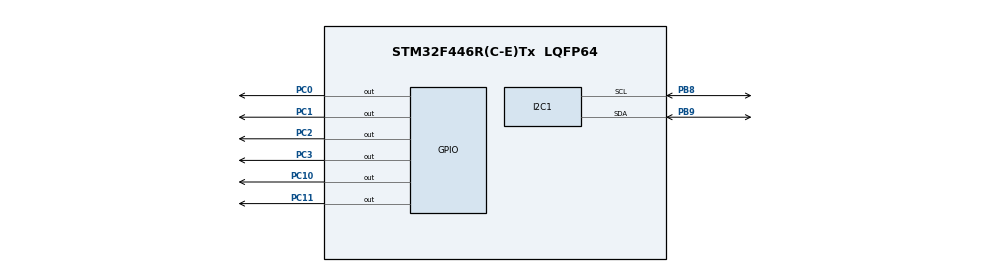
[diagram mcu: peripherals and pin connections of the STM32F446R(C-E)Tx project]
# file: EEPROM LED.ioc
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Mcu.Family=STM32F4
Mcu.Name=STM32F446R(C-E)Tx
Mcu.Package=LQFP64
NVIC.PriorityGroup=NVIC_PRIORITYGROUP_4
PB8.Mode=I2C
PB8.Signal=I2C1_SCL
PB9.Mode=I2C
PB9.Signal=I2C1_SDA
PC0.Signal=GPIO_Output
PC1.Signal=GPIO_Output
PC10.Signal=GPIO_Output
PC11.Signal=GPIO_Output
PC2.Signal=GPIO_Output
PC3.Signal=GPIO_Output
ProjectManager.HeapSize=0x200
ProjectManager.StackSize=0x400
ProjectManager.TargetToolchain=STM32CubeIDE
RCC.CortexFreq_Value=16000000
RCC.USBFreq_Value=96000000
RCC.VCOOutputFreq_Value=192000000
board=custom

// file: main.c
/* USER CODE BEGIN Header */
/**
  ******************************************************************************
  * @file           : main.c
  * @brief          : Main program body
  ******************************************************************************
  * @attention
  *
  * Copyright (c) 2026 STMicroelectronics.
  * All rights reserved.
  *
  * This software is licensed under terms that can be found in the LICENSE file
  * in the root directory of this software component.
  * If no LICENSE file comes with this software, it is provided AS-IS.
  *
  ******************************************************************************
  */
/* USER CODE END Header */
#include "main.h"

I2C_HandleTypeDef hi2c1;

void SystemClock_Config(void);
static void MX_GPIO_Init(void);
static void MX_I2C1_Init(void);

/* USER CODE BEGIN 0 */
/* USER CODE BEGIN 0 */
/* USER CODE BEGIN 0 */
#define EEPROM_ADDR       (0x50 << 1)   // 7‑bit 0x50 → 8‑bit 0xA0
#define EEPROM_LED_ADDR   0x00          // 16‑bit address where you store LED index

uint8_t last_written = 255;

void EEPROM_Write(uint16_t addr, uint8_t data)
{
    uint8_t buf[3];

    buf[0] = (uint8_t)(addr >> 8);      // high byte of address
    buf[1] = (uint8_t)(addr);           // low byte of address
    buf[2] = data;                      // data

    HAL_I2C_Master_Transmit(&hi2c1, EEPROM_ADDR, buf, 3, 100);
    HAL_Delay(10);       // EEPROM internal write cycle [web:32]
}

uint8_t EEPROM_Read(uint16_t addr)
{
    uint8_t data = 0;
    uint8_t addr_buf[2];

    addr_buf[0] = (uint8_t)(addr >> 8);   // high byte
    addr_buf[1] = (uint8_t)(addr);        // low byte

    HAL_I2C_Master_Transmit(&hi2c1, EEPROM_ADDR, addr_buf, 2, 100);
    HAL_I2C_Master_Receive(&hi2c1, EEPROM_ADDR, &data, 1, 100);

    return data;
}
/* USER CODE END 0 */
/* USER CODE END 0 */
/* USER CODE END 0 */

int main(void)
{
    HAL_Init();
    SystemClock_Config();
    MX_GPIO_Init();
    MX_I2C1_Init();

    uint8_t led_index = EEPROM_Read(EEPROM_LED_ADDR);

    if (led_index > 5)
        led_index = 0;

    /* Infinite loop */
    while (1)
    {
        // Turn OFF all LEDs
        HAL_GPIO_WritePin(GPIOC,
            GPIO_PIN_0|GPIO_PIN_1|GPIO_PIN_2|
            GPIO_PIN_3|GPIO_PIN_10|GPIO_PIN_11,
            GPIO_PIN_RESET);

        // Turn ON current LED
        switch(led_index)
        {
            case 0: HAL_GPIO_WritePin(GPIOC, GPIO_PIN_0, GPIO_PIN_SET); break;
            case 1: HAL_GPIO_WritePin(GPIOC, GPIO_PIN_1, GPIO_PIN_SET); break;
            case 2: HAL_GPIO_WritePin(GPIOC, GPIO_PIN_2, GPIO_PIN_SET); break;
            case 3: HAL_GPIO_WritePin(GPIOC, GPIO_PIN_3, GPIO_PIN_SET); break;
            case 4: HAL_GPIO_WritePin(GPIOC, GPIO_PIN_10, GPIO_PIN_SET); break;
            case 5: HAL_GPIO_WritePin(GPIOC, GPIO_PIN_11, GPIO_PIN_SET); break;
        }

        HAL_Delay(1000);

        // Next LED, wrap around 0–5
        led_index = (led_index + 1) % 6;

        // Only write if it changed (good for EEPROM life)
        if (last_written != led_index)
        {
            EEPROM_Write(EEPROM_LED_ADDR, led_index);
            last_written = led_index;
        }
    }
}

void SystemClock_Config(void)
{
  RCC_OscInitTypeDef RCC_OscInitStruct = {0};
  RCC_ClkInitTypeDef RCC_ClkInitStruct = {0};

  /** Configure the main internal regulator output voltage
  */
  __HAL_RCC_PWR_CLK_ENABLE();
  __HAL_PWR_VOLTAGESCALING_CONFIG(PWR_REGULATOR_VOLTAGE_SCALE3);

  /** Initializes the RCC Oscillators according to the specified parameters
  * in the RCC_OscInitTypeDef structure.
  */
  RCC_OscInitStruct.OscillatorType = RCC_OSCILLATORTYPE_HSI;
  RCC_OscInitStruct.HSIState = RCC_HSI_ON;
  RCC_OscInitStruct.HSICalibrationValue = RCC_HSICALIBRATION_DEFAULT;
  RCC_OscInitStruct.PLL.PLLState = RCC_PLL_NONE;
  if (HAL_RCC_OscConfig(&RCC_OscInitStruct) != HAL_OK)
  {
    Error_Handler();
  }

  /** Initializes the CPU, AHB and APB buses clocks
  */
  RCC_ClkInitStruct.ClockType = RCC_CLOCKTYPE_HCLK|RCC_CLOCKTYPE_SYSCLK
                              |RCC_CLOCKTYPE_PCLK1|RCC_CLOCKTYPE_PCLK2;
  RCC_ClkInitStruct.SYSCLKSource = RCC_SYSCLKSOURCE_HSI;
  RCC_ClkInitStruct.AHBCLKDivider = RCC_SYSCLK_DIV1;
  RCC_ClkInitStruct.APB1CLKDivider = RCC_HCLK_DIV1;
  RCC_ClkInitStruct.APB2CLKDivider = RCC_HCLK_DIV1;

  if (HAL_RCC_ClockConfig(&RCC_ClkInitStruct, FLASH_LATENCY_0) != HAL_OK)
  {
    Error_Handler();
  }
}

static void MX_I2C1_Init(void)
{

  hi2c1.Instance = I2C1;
  hi2c1.Init.ClockSpeed = 100000;
  hi2c1.Init.DutyCycle = I2C_DUTYCYCLE_2;
  hi2c1.Init.OwnAddress1 = 0;
  hi2c1.Init.AddressingMode = I2C_ADDRESSINGMODE_7BIT;
  hi2c1.Init.DualAddressMode = I2C_DUALADDRESS_DISABLE;
  hi2c1.Init.OwnAddress2 = 0;
  hi2c1.Init.GeneralCallMode = I2C_GENERALCALL_DISABLE;
  hi2c1.Init.NoStretchMode = I2C_NOSTRETCH_DISABLE;
  if (HAL_I2C_Init(&hi2c1) != HAL_OK)
  {
    Error_Handler();
  }

}

static void MX_GPIO_Init(void)
{
  GPIO_InitTypeDef GPIO_InitStruct = {0};

  /* GPIO Ports Clock Enable */
  __HAL_RCC_GPIOC_CLK_ENABLE();
  __HAL_RCC_GPIOB_CLK_ENABLE();

  /*Configure GPIO pin Output Level */
  HAL_GPIO_WritePin(GPIOC, GPIO_PIN_0|GPIO_PIN_1|GPIO_PIN_2|GPIO_PIN_3
                          |GPIO_PIN_10|GPIO_PIN_11, GPIO_PIN_RESET);

  /*Configure GPIO pins : PC0 PC1 PC2 PC3
                           PC10 PC11 */
  GPIO_InitStruct.Pin = GPIO_PIN_0|GPIO_PIN_1|GPIO_PIN_2|GPIO_PIN_3
                          |GPIO_PIN_10|GPIO_PIN_11;
  GPIO_InitStruct.Mode = GPIO_MODE_OUTPUT_PP;
  GPIO_InitStruct.Pull = GPIO_NOPULL;
  GPIO_InitStruct.Speed = GPIO_SPEED_FREQ_LOW;
  HAL_GPIO_Init(GPIOC, &GPIO_InitStruct);

}

void Error_Handler(void)
{
  __disable_irq();
  while (1)
  {
  }
}
